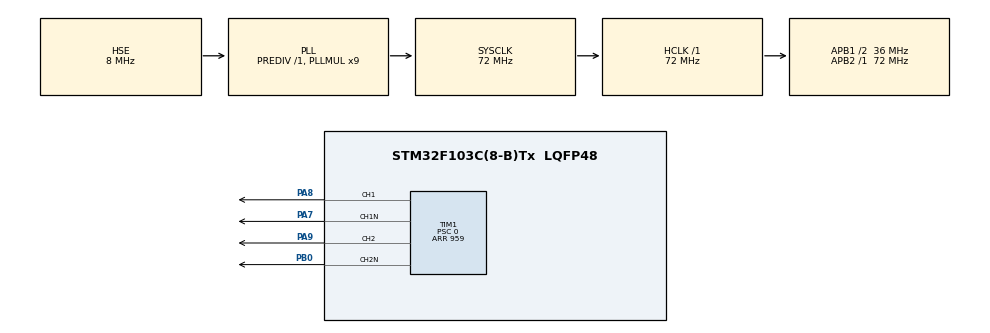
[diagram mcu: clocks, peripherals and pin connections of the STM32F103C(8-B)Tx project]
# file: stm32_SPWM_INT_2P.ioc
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Mcu.Family=STM32F1
Mcu.Name=STM32F103C(8-B)Tx
Mcu.Package=LQFP48
NVIC.PriorityGroup=NVIC_PRIORITYGROUP_4
NVIC.TIM1_CC_IRQn=true\:0\:0\:false\:false\:true\:true\:true\:true
NVIC.TIM1_TRG_COM_IRQn=true\:0\:0\:false\:false\:true\:true\:true\:true
NVIC.TIM1_UP_IRQn=true\:0\:0\:false\:false\:true\:true\:true\:true
NVIC.TIM2_IRQn=true\:0\:0\:false\:false\:true\:true\:true\:true
PA7.Mode=PWM Generation1 CH1 CH1N
PA7.Signal=TIM1_CH1N
PA8.Signal=S_TIM1_CH1
PA9.Signal=S_TIM1_CH2
PB0.Mode=PWM Generation2 CH2 CH2N
PB0.Signal=TIM1_CH2N
PD0-OSC_IN.Mode=HSE-External-Oscillator
PD0-OSC_IN.Signal=RCC_OSC_IN
PD1-OSC_OUT.Mode=HSE-External-Oscillator
PD1-OSC_OUT.Signal=RCC_OSC_OUT
ProjectManager.HeapSize=0x200
ProjectManager.StackSize=0x400
ProjectManager.TargetToolchain=STM32CubeIDE
RCC.AHBFreq_Value=72000000
RCC.APB1CLKDivider=RCC_HCLK_DIV2
RCC.APB1Freq_Value=36000000
RCC.APB1TimFreq_Value=72000000
RCC.APB2Freq_Value=72000000
RCC.APB2TimFreq_Value=72000000
RCC.HCLKFreq_Value=72000000
RCC.PLLMUL=RCC_PLL_MUL9
RCC.PLLSourceVirtual=RCC_PLLSOURCE_HSE
RCC.SYSCLKFreq_VALUE=72000000
RCC.SYSCLKSource=RCC_SYSCLKSOURCE_PLLCLK
RCC.USBFreq_Value=72000000
SH.S_TIM1_CH1.0=TIM1_CH1,PWM Generation1 CH1 CH1N
SH.S_TIM1_CH2.0=TIM1_CH2,PWM Generation2 CH2 CH2N
TIM1.Channel-PWM\ Generation1\ CH1\ CH1N=TIM_CHANNEL_1
TIM1.Channel-PWM\ Generation2\ CH2\ CH2N=TIM_CHANNEL_2
TIM1.CounterMode=TIM_COUNTERMODE_CENTERALIGNED3
TIM1.DeadTime=172
TIM1.Period=959
TIM1.Prescaler=0
TIM1.TIM_MasterOutputTrigger=TIM_TRGO_ENABLE
TIM2.CounterMode=TIM_COUNTERMODE_CENTERALIGNED3
TIM2.Period=959
TIM2.Prescaler=0
TIM2.TIM_MasterOutputTrigger=TIM_TRGO_UPDATE
VP_TIM1_VS_ClockSourceINT.Mode=Internal
VP_TIM2_VS_ClockSourceINT.Mode=Internal
VP_TIM2_VS_ClockSourceITR.Mode=TriggerSource_ITR0
VP_TIM2_VS_ControllerModeTrigger.Mode=Trigger Mode
board=custom

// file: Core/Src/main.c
/* USER CODE BEGIN Header */
/**
  ******************************************************************************
  * @file           : main.c
  * @brief          : Main program body
  ******************************************************************************
  * @attention
  *
  * Copyright (c) 2024 STMicroelectronics.
  * All rights reserved.
  *
  * This software is licensed under terms that can be found in the LICENSE file
  * in the root directory of this software component.
  * If no LICENSE file comes with this software, it is provided AS-IS.
  *
  ******************************************************************************
  */
/* USER CODE END Header */
#include "main.h"

/* USER CODE BEGIN Includes */
#include "math.h"
/* USER CODE END Includes */

TIM_HandleTypeDef htim1;
TIM_HandleTypeDef htim2;

/* USER CODE BEGIN PV */
uint16_t nValues;
uint16_t counter = 0;
uint16_t sinValues[1250]; // Size depends on frequency

double m = 0.98;

uint16_t phaseA = 0;
uint16_t phaseB;

uint16_t freq = 60; // Between 375 and 10 Hz
/* USER CODE END PV */

void SystemClock_Config(void);
static void MX_GPIO_Init(void);
static void MX_TIM1_Init(void);
static void MX_TIM2_Init(void);
/* USER CODE BEGIN PFP */
void sineValuesGeneration(void);
/* USER CODE END PFP */

int main(void)
{

  /* MCU Configuration--------------------------------------------------------*/

  /* Reset of all peripherals, Initializes the Flash interface and the Systick. */
  HAL_Init();

  /* Configure the system clock */
  SystemClock_Config();

  /* Initialize all configured peripherals */
  MX_GPIO_Init();
  MX_TIM1_Init();
  MX_TIM2_Init();
  /* USER CODE BEGIN 2 */
  sineValuesGeneration();

  HAL_TIM_Base_Start_IT(&htim2);
  HAL_Delay(250);

  HAL_TIM_PWM_Start(&htim1, TIM_CHANNEL_1);
  HAL_TIMEx_PWMN_Start(&htim1, TIM_CHANNEL_1);

  HAL_TIM_PWM_Start(&htim1, TIM_CHANNEL_2);
  HAL_TIMEx_PWMN_Start(&htim1, TIM_CHANNEL_2);
  /* USER CODE END 2 */

  /* Infinite loop */
  while (1)
  {

  }
}

void SystemClock_Config(void)
{
  RCC_OscInitTypeDef RCC_OscInitStruct = {0};
  RCC_ClkInitTypeDef RCC_ClkInitStruct = {0};

  /** Initializes the RCC Oscillators according to the specified parameters
  * in the RCC_OscInitTypeDef structure.
  */
  RCC_OscInitStruct.OscillatorType = RCC_OSCILLATORTYPE_HSE;
  RCC_OscInitStruct.HSEState = RCC_HSE_ON;
  RCC_OscInitStruct.HSEPredivValue = RCC_HSE_PREDIV_DIV1;
  RCC_OscInitStruct.HSIState = RCC_HSI_ON;
  RCC_OscInitStruct.PLL.PLLState = RCC_PLL_ON;
  RCC_OscInitStruct.PLL.PLLSource = RCC_PLLSOURCE_HSE;
  RCC_OscInitStruct.PLL.PLLMUL = RCC_PLL_MUL9;
  if (HAL_RCC_OscConfig(&RCC_OscInitStruct) != HAL_OK)
  {
    Error_Handler();
  }

  /** Initializes the CPU, AHB and APB buses clocks
  */
  RCC_ClkInitStruct.ClockType = RCC_CLOCKTYPE_HCLK|RCC_CLOCKTYPE_SYSCLK
                              |RCC_CLOCKTYPE_PCLK1|RCC_CLOCKTYPE_PCLK2;
  RCC_ClkInitStruct.SYSCLKSource = RCC_SYSCLKSOURCE_PLLCLK;
  RCC_ClkInitStruct.AHBCLKDivider = RCC_SYSCLK_DIV1;
  RCC_ClkInitStruct.APB1CLKDivider = RCC_HCLK_DIV2;
  RCC_ClkInitStruct.APB2CLKDivider = RCC_HCLK_DIV1;

  if (HAL_RCC_ClockConfig(&RCC_ClkInitStruct, FLASH_LATENCY_2) != HAL_OK)
  {
    Error_Handler();
  }
}

static void MX_TIM1_Init(void)
{

  TIM_ClockConfigTypeDef sClockSourceConfig = {0};
  TIM_MasterConfigTypeDef sMasterConfig = {0};
  TIM_OC_InitTypeDef sConfigOC = {0};
  TIM_BreakDeadTimeConfigTypeDef sBreakDeadTimeConfig = {0};

  htim1.Instance = TIM1;
  htim1.Init.Prescaler = 0;
  htim1.Init.CounterMode = TIM_COUNTERMODE_CENTERALIGNED3;
  htim1.Init.Period = 959;
  htim1.Init.ClockDivision = TIM_CLOCKDIVISION_DIV1;
  htim1.Init.RepetitionCounter = 0;
  htim1.Init.AutoReloadPreload = TIM_AUTORELOAD_PRELOAD_DISABLE;
  if (HAL_TIM_Base_Init(&htim1) != HAL_OK)
  {
    Error_Handler();
  }
  sClockSourceConfig.ClockSource = TIM_CLOCKSOURCE_INTERNAL;
  if (HAL_TIM_ConfigClockSource(&htim1, &sClockSourceConfig) != HAL_OK)
  {
    Error_Handler();
  }
  if (HAL_TIM_PWM_Init(&htim1) != HAL_OK)
  {
    Error_Handler();
  }
  sMasterConfig.MasterOutputTrigger = TIM_TRGO_ENABLE;
  sMasterConfig.MasterSlaveMode = TIM_MASTERSLAVEMODE_DISABLE;
  if (HAL_TIMEx_MasterConfigSynchronization(&htim1, &sMasterConfig) != HAL_OK)
  {
    Error_Handler();
  }
  sConfigOC.OCMode = TIM_OCMODE_PWM1;
  sConfigOC.Pulse = 0;
  sConfigOC.OCPolarity = TIM_OCPOLARITY_HIGH;
  sConfigOC.OCNPolarity = TIM_OCNPOLARITY_HIGH;
  sConfigOC.OCFastMode = TIM_OCFAST_DISABLE;
  sConfigOC.OCIdleState = TIM_OCIDLESTATE_RESET;
  sConfigOC.OCNIdleState = TIM_OCNIDLESTATE_RESET;
  if (HAL_TIM_PWM_ConfigChannel(&htim1, &sConfigOC, TIM_CHANNEL_1) != HAL_OK)
  {
    Error_Handler();
  }
  if (HAL_TIM_PWM_ConfigChannel(&htim1, &sConfigOC, TIM_CHANNEL_2) != HAL_OK)
  {
    Error_Handler();
  }
  sBreakDeadTimeConfig.OffStateRunMode = TIM_OSSR_DISABLE;
  sBreakDeadTimeConfig.OffStateIDLEMode = TIM_OSSI_DISABLE;
  sBreakDeadTimeConfig.LockLevel = TIM_LOCKLEVEL_OFF;
  sBreakDeadTimeConfig.DeadTime = 172;
  sBreakDeadTimeConfig.BreakState = TIM_BREAK_DISABLE;
  sBreakDeadTimeConfig.BreakPolarity = TIM_BREAKPOLARITY_HIGH;
  sBreakDeadTimeConfig.AutomaticOutput = TIM_AUTOMATICOUTPUT_DISABLE;
  if (HAL_TIMEx_ConfigBreakDeadTime(&htim1, &sBreakDeadTimeConfig) != HAL_OK)
  {
    Error_Handler();
  }
  HAL_TIM_MspPostInit(&htim1);

}

static void MX_TIM2_Init(void)
{

  TIM_ClockConfigTypeDef sClockSourceConfig = {0};
  TIM_SlaveConfigTypeDef sSlaveConfig = {0};
  TIM_MasterConfigTypeDef sMasterConfig = {0};

  htim2.Instance = TIM2;
  htim2.Init.Prescaler = 0;
  htim2.Init.CounterMode = TIM_COUNTERMODE_CENTERALIGNED3;
  htim2.Init.Period = 959;
  htim2.Init.ClockDivision = TIM_CLOCKDIVISION_DIV1;
  htim2.Init.AutoReloadPreload = TIM_AUTORELOAD_PRELOAD_DISABLE;
  if (HAL_TIM_Base_Init(&htim2) != HAL_OK)
  {
    Error_Handler();
  }
  sClockSourceConfig.ClockSource = TIM_CLOCKSOURCE_INTERNAL;
  if (HAL_TIM_ConfigClockSource(&htim2, &sClockSourceConfig) != HAL_OK)
  {
    Error_Handler();
  }
  sSlaveConfig.SlaveMode = TIM_SLAVEMODE_TRIGGER;
  sSlaveConfig.InputTrigger = TIM_TS_ITR0;
  if (HAL_TIM_SlaveConfigSynchro(&htim2, &sSlaveConfig) != HAL_OK)
  {
    Error_Handler();
  }
  sMasterConfig.MasterOutputTrigger = TIM_TRGO_UPDATE;
  sMasterConfig.MasterSlaveMode = TIM_MASTERSLAVEMODE_DISABLE;
  if (HAL_TIMEx_MasterConfigSynchronization(&htim2, &sMasterConfig) != HAL_OK)
  {
    Error_Handler();
  }

}

static void MX_GPIO_Init(void)
{

  /* GPIO Ports Clock Enable */
  __HAL_RCC_GPIOD_CLK_ENABLE();
  __HAL_RCC_GPIOA_CLK_ENABLE();
  __HAL_RCC_GPIOB_CLK_ENABLE();

}

/* USER CODE BEGIN 4 */
/**
  * @brief  This function pre-generates the sine values for modulator signal.
  * @retval None
  */
void sineValuesGeneration(void){
	nValues = 2*floor(37500/freq);
	phaseB = floor(nValues/2.00) + phaseA;
	for(uint16_t i = 0; i < nValues; i++){
		sinValues[i] = floor(959.00*(0.5*m*sin(i*2*3.14159265358979323846/nValues)+0.5));
	}
}

void HAL_TIM_PeriodElapsedCallback(TIM_HandleTypeDef *htim){
	TIM1->CCR1 = sinValues[(counter + phaseA)%nValues];
	TIM1->CCR2 = sinValues[(counter + phaseB)%nValues];
	counter++;
	if(counter > nValues) counter = 0;
}
/* USER CODE END 4 */

void Error_Handler(void)
{
  __disable_irq();
  while (1)
  {
  }
}
